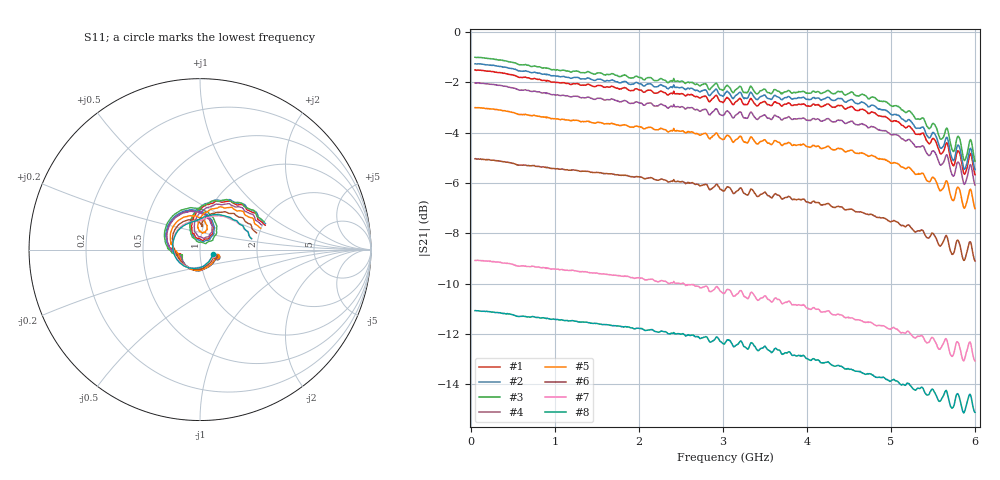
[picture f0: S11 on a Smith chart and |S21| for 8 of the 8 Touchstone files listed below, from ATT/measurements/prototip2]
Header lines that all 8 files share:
! Touchstone 1.1 file saved by VNA.EXE V1.65 (www.ke5fx.com/gpib/readme.htm)
!  Source: HP8510C.07.14: Aug 26  1998
!  Min freq: 4.500000E+007 Hz
!  Max freq: 6.000000E+009 Hz
!  Points: 801
!  Params: S11 S21 S12 S22
# GHZ S DB R 50
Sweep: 45 MHz to 6 GHz
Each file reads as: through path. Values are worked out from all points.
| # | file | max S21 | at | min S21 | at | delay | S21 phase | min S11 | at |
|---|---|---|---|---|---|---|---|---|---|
| 1 | 0_5dB.S2P | -1.50 dB | 52.44 MHz | -5.7 dB | 6 GHz | 167 ps | 179 deg at 3.022 GHz | -25.2 dB | 4.459 GHz |
| 2 | 0_25dB.S2P | -1.26 dB | 52.44 MHz | -5.5 dB | 6 GHz | 167 ps | 179 deg at 3.022 GHz | -26.6 dB | 4.467 GHz |
| 3 | 0dB.S2P | -1.00 dB | 45 MHz | -5.1 dB | 6 GHz | 167 ps | 180 deg at 3.022 GHz | -27.4 dB | 4.571 GHz |
| 4 | 1dB.S2P | -2.01 dB | 52.44 MHz | -6.1 dB | 6 GHz | 167 ps | 179 deg at 3.022 GHz | -23.3 dB | 4.467 GHz |
| 5 | 2dB.S2P | -3.00 dB | 52.44 MHz | -7.0 dB | 6 GHz | 165 ps | 180 deg at 3.022 GHz | -20.3 dB | 4.452 GHz |
| 6 | 4dB.S2P | -5.03 dB | 52.44 MHz | -9.1 dB | 6 GHz | 164 ps | 180 deg at 3.022 GHz | -20.7 dB | 67.33 MHz |
| 7 | 8dB.S2P | -9.07 dB | 74.78 MHz | -13.1 dB | 5.866 GHz | 161 ps | -178 deg at 3.022 GHz | -21.9 dB | 67.33 MHz |
| 8 | 10dB.S2P | -11.08 dB | 52.44 MHz | -15.2 dB | 5.866 GHz | 160 ps | -177 deg at 3.022 GHz | -21.9 dB | 82.22 MHz |
